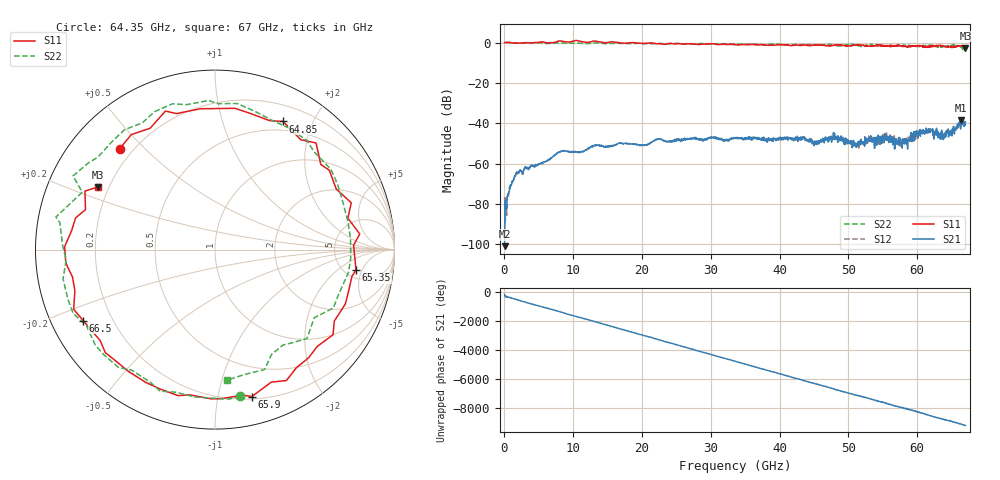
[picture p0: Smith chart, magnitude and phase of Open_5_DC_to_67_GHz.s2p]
#  HZ  S  MA  R  50.00
! Rohde & Schwarz ZVA67 4Ports - Version 4.11 - 1305.7002k04 SN: 101051
! Date: 2023-05-31 11:09:01
! Measurements: S11 S21 S12 S22
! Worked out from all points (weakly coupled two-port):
!   1340 points, 50 MHz to 67 GHz, reference 50 ohm
!   highest |S21| = -38.59 dB at 66.4 GHz (marker M1); lowest = -100.9 dB at 50 MHz (marker M2)
!   lowest |S11| = -2.6 dB at 67 GHz (marker M3), VSWR 6.70, Z = 7.92 + j12.2 ohm
!   |S11| at or under -10 dB: nowhere
!   |S22| runs from -3.7 to 0.1 dB; largest |S21 - S12| = 0.0033
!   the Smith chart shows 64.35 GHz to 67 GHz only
!   S11 on the Smith chart (normalised r, x): 64.35 GHz: 0.15, +0.42; 64.85 GHz: 0.39, +1.60; 65.35 GHz: 6.27, -3.88; 65.9 GHz: 0.22, -1.26; 66.5 GHz: 0.10, -0.25; 67 GHz: 0.16, +0.24
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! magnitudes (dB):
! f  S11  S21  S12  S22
! 50 MHz  0.0  -100.9  -76.7  -0.1
! 2.05 GHz  -0.2  -64.1  -64.2  -0.2
! 8.3 GHz  0.8  -53.9  -53.8  -0.1
! 11.25 GHz  0.5  -54.1  -54.0  -0.4
! 13.3 GHz  0.7  -50.7  -50.8  -0.1
! 20.5 GHz  -0.3  -50.8  -50.9  -0.5
! 22.4 GHz  -0.6  -47.8  -47.8  -0.4
! 33.55 GHz  -1.1  -47.1  -47.4  -0.7
! 44.7 GHz  -1.4  -48.5  -49.1  -1.0
! 48 GHz  -1.2  -45.1  -46.6  -1.3
! 51.5 GHz  -1.2  -51.1  -52.3  -1.5
! 55.85 GHz  -1.7  -49.5  -47.3  -1.6
! 57.55 GHz  -1.7  -47.9  -51.3  -1.4
! 61.35 GHz  -2.4  -44.6  -43.6  -1.5
! 63.55 GHz  -1.7  -43.4  -47.6  -1.9
! 64.35 GHz  -2.2  -44.2  -45.6  -1.6
! 64.85 GHz  -1.8  -44.7  -44.1  -1.4
! 65.35 GHz  -2.0  -44.0  -43.5  -1.0
! 65.9 GHz  -1.5  -41.6  -42.1  -1.7
! 66.4 GHz  -1.5  -38.6  -39.5  -2.4
! 66.5 GHz  -1.6  -40.4  -39.6  -2.4
! 67 GHz  -2.6  -39.3  -39.8  -2.7
